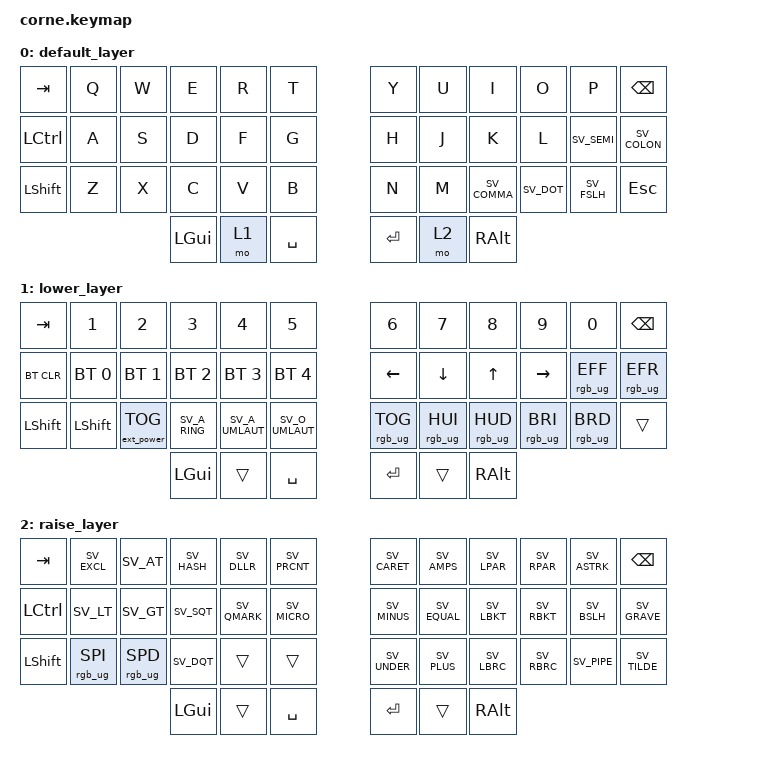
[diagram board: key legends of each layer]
/*
 * Copyright (c) 2020 The ZMK Contributors
 *
 * SPDX-License-Identifier: MIT
 */

#include <behaviors.dtsi>
#include <dt-bindings/zmk/keys.h>
#include <dt-bindings/zmk/bt.h>
#include <dt-bindings/zmk/ext_power.h>
#include <dt-bindings/zmk/rgb.h>
#include <locale/keys_sv.h>

/ {
	combos {
        compatible = "zmk,combos";
        combo_studio_unlock {
            timeout-ms = <50>;
            key-positions = <0 11>;
            bindings = <&studio_unlock>;
        };
    };
        keymap {
                compatible = "zmk,keymap";

                default_layer {
// -----------------------------------------------------------------------------------------
// |  TAB |  Q  |  W  |  E  |  R  |  T  |   |  Y  |  U   |  I  |  O  |  P  | BSPC |
// | CTRL |  A  |  S  |  D  |  F  |  G  |   |  H  |  J   |  K  |  L  |  ;  |  :   |
// | SHFT |  Z  |  X  |  C  |  V  |  B  |   |  N  |  M   |  ,  |  .  |  /  | ESC  |
//                    | GUI | LWR | SPC |   | ENT | RSE  | ALT |
                        bindings = <
   &kp TAB   &kp Q &kp W &kp E &kp R &kp T   &kp Y &kp U  &kp I     &kp O   &kp P    &kp BSPC
   &kp LCTRL &kp A &kp S &kp D &kp F &kp G   &kp H &kp J  &kp K     &kp L   &kp SV_SEMI &kp SV_COLON
   &kp LSHFT &kp Z &kp X &kp C &kp V &kp B   &kp N &kp M  &kp SV_COMMA &kp SV_DOT &kp SV_FSLH &kp ESC
                  &kp LGUI &mo 1 &kp SPACE   &kp RET &mo 2 &kp RALT
                        >;
                };
                lower_layer {
// -----------------------------------------------------------------------------------------
// |  TAB |  1  |  2  |  3  |  4  |  5  |   |  6  |  7  |  8  |  9  |  0  | BSPC |
// | BTCLR| BT1 | BT2 | BT3 | BT4 | BT5 |   | LFT | DWN |  UP | RGT |RGB_F|RGB_R |
// | SHFT | SHFT|     |  Å  |  Ä  |  Ö  |   |RGB_T|RGB_I|RGB_D|RGBBI|RGBBD|      |
//                    | GUI |     | SPC |   | ENT |     | ALT |
                        bindings = <
   &kp TAB    &kp N1       &kp N2       &kp N3       &kp N4       &kp N5         &kp N6   &kp N7   &kp N8 &kp N9    &kp N0 &kp BSPC
   &bt BT_CLR &bt BT_SEL 0 &bt BT_SEL 1 &bt BT_SEL 2 &bt BT_SEL 3 &bt BT_SEL 4   &kp LEFT &kp DOWN &kp UP &kp RIGHT &rgb_ug RGB_EFF &rgb_ug RGB_EFR
   &kp LSHFT  &kp LSHFT  &ext_power EP_TOG  &kp SV_A_RING  &kp SV_A_UMLAUT  &kp SV_O_UMLAUT  &rgb_ug RGB_TOG  &rgb_ug RGB_HUI  &rgb_ug RGB_HUD &rgb_ug RGB_BRI  &rgb_ug RGB_BRD &trans
                                    &kp LGUI     &trans       &kp SPACE      &kp RET  &trans   &kp RALT
                        >;
                };

                raise_layer {
// -----------------------------------------------------------------------------------------
// |  TAB |  !  |  @  |  #  |  $  |  %  |   |  ^  |  &  |  (  |  )  |  *  | BSPC |
// | CTRL |  <  |  >  |  '  |  ?  |  µ  |   |  -  |  =  |  [  |  ]  |  \  |  `   |
// | SHFT |RGBSI|RGBSD|  "  |     |     |   |  _  |  +  |  {  |  }  | "|" |  ~   |
//                    | GUI |     | SPC |   | ENT |     | ALT |
                        bindings = <
   &kp  TAB  &kp SV_EXCL &kp SV_AT &kp SV_HASH &kp SV_DLLR &kp SV_PRCNT   &kp SV_CARET &kp SV_AMPS  &kp SV_LPAR &kp SV_RPAR &kp  SV_ASTRK &kp BSPC
   &kp LCTRL &kp SV_LT   &kp SV_GT &kp SV_SQT  &kp SV_QMARK  &kp SV_MICRO     &kp SV_MINUS &kp SV_EQUAL &kp SV_LBKT  &kp SV_RBKT &kp SV_BSLH &kp SV_GRAVE
   &kp LSHFT &rgb_ug RGB_SPI   &rgb_ug RGB_SPD &kp SV_DQT  &trans   &trans      &kp SV_UNDER &kp SV_PLUS  &kp SV_LBRC  &kp SV_RBRC &kp SV_PIPE &kp SV_TILDE
                             &kp LGUI &trans   &kp SPACE   &kp RET   &trans    &kp RALT
                        >;
                };
        };
};
